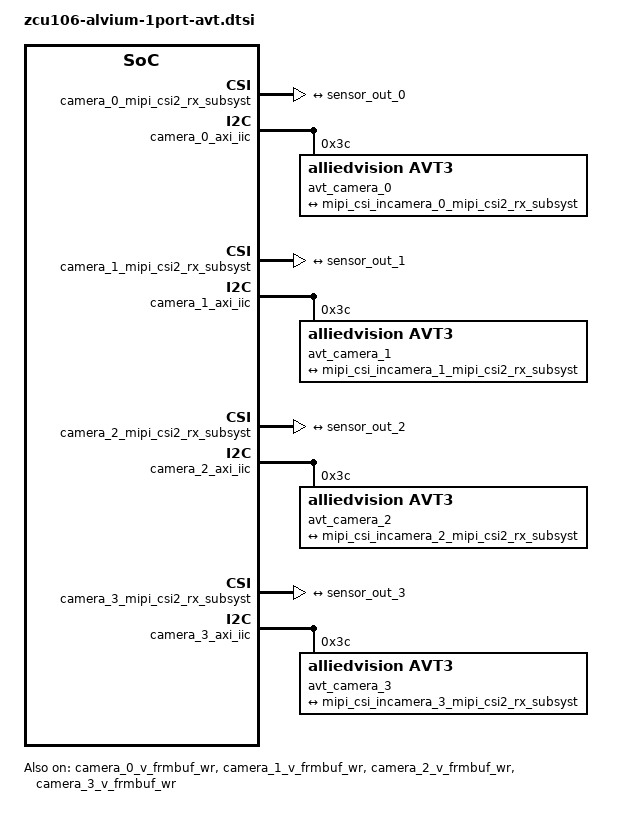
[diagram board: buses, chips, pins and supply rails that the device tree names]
#include <dt-bindings/gpio/gpio.h>
#include <dt-bindings/media/xilinx-vip.h>

/*
//dt-bindings/media/xilinx-vip.h
#define XVIP_VF_YUV_422			0
#define XVIP_VF_YUV_444			1
#define XVIP_VF_RBG				2
#define XVIP_VF_YUV_420			3
#define XVIP_VF_YUVA_422		4
#define XVIP_VF_YUVA_444		5
#define XVIP_VF_RGBA			6
#define XVIP_VF_YUVA_420		7
#define XVIP_VF_YUVD_422		8
#define XVIP_VF_YUVD_444		9
#define XVIP_VF_RGBD			10
#define XVIP_VF_YUVD_420		11
#define XVIP_VF_MONO_SENSOR		12
#define XVIP_VF_CUSTOM2			13
#define XVIP_VF_CUSTOM3			14
#define XVIP_VF_CUSTOM4			15
#define XVIP_VF_VUY_422			16
#define XVIP_VF_BGRX			17
#define XVIP_VF_YUVX			18
#define XVIP_VF_XBGR			19
#define XVIP_VF_Y_GREY			20
#define XVIP_VF_XRGB			21
*/

/* MIPI CSI-2 Data Types from spec */
#define XCSI_DT_YUV4228B	0x1e
#define XCSI_DT_YUV42210B	0x1f
#define XCSI_DT_RGB444		0x20
#define XCSI_DT_RGB555		0x21
#define XCSI_DT_RGB565		0x22
#define XCSI_DT_RGB666		0x23
#define XCSI_DT_RGB888		0x24
#define XCSI_DT_RAW6		0x28
#define XCSI_DT_RAW7		0x29
#define XCSI_DT_RAW8		0x2a
#define XCSI_DT_RAW10		0x2b
#define XCSI_DT_RAW12		0x2c
#define XCSI_DT_RAW14		0x2d
#define XCSI_DT_RAW16		0x2e
#define XCSI_DT_RAW20		0x2f

//Camera 0

&mipi_csi_port0camera_0_mipi_csi2_rx_subsyst {
	/delete-property/ xlnx,cfa-pattern;
};
&mipi_csi_port1camera_0_mipi_csi2_rx_subsyst {
     /delete-property/ xlnx,cfa-pattern;
};


&camera_0_v_frmbuf_wr {
  xlnx,vid-formats = "rgb888", "bgr888", "xbgr8888", "xrgb8888", "uyvy", "y8", "vuy888", "xvuy8888", "yuyv", "nv12", "nv16", "y_u_v8", "tp31";
  xlnx,dma-align = <32>;
  dma-coherent;
  status = "okay";
};


&camera_0_mipi_csi2_rx_subsyst {
  xlnx,csi-pxl-format = <XCSI_DT_YUV4228B>;/*<XCSI_DT_YUV4228B>;"RAW8";*/
  status = "okay";
mipi_csi_portscamera_0_mipi_csi2_rx_subsyst_0: ports {
#address-cells = <1>;
#size-cells = <0>;
    xlnx,csi-pxl-format = <XCSI_DT_YUV4228B>;
  mipi_csi_port1camera_0_mipi_csi2_rx_subsyst: port@1 {
      /* Fill cfa-pattern=rggb for raw data types, other fields video-format and video-width user needs to fill */
      reg = <1>;
      /*xlnx,cfa-pattern = "rggb";*/
      xlnx,video-format = <XVIP_VF_YUV_422>;/*<3>; XVIP_VF_RBG<12>;XVIP_VF_MONO_SENSOR*/
      xlnx,csi-pxl-format = <XCSI_DT_YUV4228B>;
      xlnx,video-width = <8>;
      direction = "output";
      //			mipi_csirx_outmipi_csi2rxss_0: endpoint {
      //				remote-endpoint = <&v_frmbuf_wr_csi_0mipi_csi2rxss_0>;
      //			};
    };
  mipi_csi_port0camera_0_mipi_csi2_rx_subsyst: port@0 {
      /* Fill cfa-pattern=rggb for raw data types, other fields video-format,video-width user needs to fill */
      /* User need to add something like remote-endpoint=<&out> under the node csiss_in:endpoint */
      reg = <0>;
      /*xlnx,cfa-pattern = "rggb";*/
      xlnx,csi-pxl-format = <XCSI_DT_YUV4228B>;
      xlnx,video-format = <XVIP_VF_YUV_422>;/*<3>; XVIP_VF_RBG<12>;XVIP_VF_MONO_SENSOR*/
      xlnx,video-width = <8>;
      direction = "input";
    mipi_csi_incamera_0_mipi_csi2_rx_subsyst: endpoint {
        data-lanes = <1 2 3 4>;
        remote-endpoint = <&sensor_out_0>;
      };
    };
  };
};



&camera_0_axi_iic {
  //clocks = <&vid_s_axi_clk>;

  avt_camera_0@3c {
    compatible = "alliedvision,avt3"; /*"alliedvision,avt_csi2";*/

    reg = <0x3c>;
    csi_id = <0>;

    /* powerdown-gpios = <&axi_gpio_0 0 GPIO_ACTIVE_LOW>;
		reset-gpios = <&axi_gpio_0 4 GPIO_ACTIVE_LOW>; */

    bcrm_wait_timeout = <5111>; /*<4000>;*/
    mipi_csi;
    status = "okay";

    //streamon_delay = <100>;
    phy_reset_on_start;
    x_force_reset_on_init;

    avt-ignore-yuv420_8_leg_avail;
    avt-ignore-yuv420_8_avail;
    avt-ignore-yuv420_10_avail;
    avt-ignore-yuv420_8_csps_avail;
    avt-ignore-yuv420_10_csps_avail;
    x_avt-ignore-yuv422_8_avail;
    avt-ignore-yuv422_10_avail;
    x_avt-ignore-rgb888_avail;
    avt-ignore-rgb666_avail;
    avt-ignore-rgb565_avail;
    avt-ignore-rgb555_avail;
    avt-ignore-rgb444_avail;
    avt-ignore-raw6_avail;
    avt-ignore-raw7_avail;
    avt-ignore-raw8_avail;
    avt-ignore-raw10_avail;
    avt-ignore-raw12_avail;
    avt-ignore-raw14_avail;

    port {
    sensor_out_0: endpoint {
        remote-endpoint = <&mipi_csi_incamera_0_mipi_csi2_rx_subsyst>;
        data-lanes = <1 2 3 4>;
        clock-lanes = <0>;
        link-frequencies = /bits/ 64 <750000000>;
      };
    };
  };



};



//Camera 1

&mipi_csi_port0camera_1_mipi_csi2_rx_subsyst {
	/delete-property/ xlnx,cfa-pattern;
};
&mipi_csi_port1camera_1_mipi_csi2_rx_subsyst {
     /delete-property/ xlnx,cfa-pattern;
};


&camera_1_v_frmbuf_wr {
  xlnx,vid-formats = "rgb888", "bgr888", "xbgr8888", "xrgb8888", "uyvy", "y8", "vuy888", "xvuy8888", "yuyv", "nv12", "nv16", "y_u_v8", "tp31";
  xlnx,dma-align = <32>;
  dma-coherent;
  status = "okay";
};


&camera_1_mipi_csi2_rx_subsyst {
  xlnx,csi-pxl-format = <XCSI_DT_YUV4228B>;/*<XCSI_DT_YUV4228B>;"RAW8";*/
  status = "okay";
mipi_csi_portscamera_1_mipi_csi2_rx_subsyst_0: ports {
#address-cells = <1>;
#size-cells = <0>;
    xlnx,csi-pxl-format = <XCSI_DT_YUV4228B>;
  mipi_csi_port1camera_1_mipi_csi2_rx_subsyst: port@1 {
      /* Fill cfa-pattern=rggb for raw data types, other fields video-format and video-width user needs to fill */
      reg = <1>;
      /*xlnx,cfa-pattern = "rggb";*/
      xlnx,video-format = <XVIP_VF_YUV_422>;/*<3>; XVIP_VF_RBG<12>;XVIP_VF_MONO_SENSOR*/
      xlnx,csi-pxl-format = <XCSI_DT_YUV4228B>;
      xlnx,video-width = <8>;
      direction = "output";
      //			mipi_csirx_outmipi_csi2rxss_0: endpoint {
      //				remote-endpoint = <&v_frmbuf_wr_csi_0mipi_csi2rxss_0>;
      //			};
    };
  mipi_csi_port0camera_1_mipi_csi2_rx_subsyst: port@0 {
      /* Fill cfa-pattern=rggb for raw data types, other fields video-format,video-width user needs to fill */
      /* User need to add something like remote-endpoint=<&out> under the node csiss_in:endpoint */
      reg = <0>;
      /*xlnx,cfa-pattern = "rggb";*/
      xlnx,csi-pxl-format = <XCSI_DT_YUV4228B>;
      xlnx,video-format = <XVIP_VF_YUV_422>;/*<3>; XVIP_VF_RBG<12>;XVIP_VF_MONO_SENSOR*/
      xlnx,video-width = <8>;
      direction = "input";
    mipi_csi_incamera_1_mipi_csi2_rx_subsyst: endpoint {
        data-lanes = <1 2 3 4>;
        remote-endpoint = <&sensor_out_1>;
      };
    };
  };
};



&camera_1_axi_iic {
  //clocks = <&vid_s_axi_clk>;

  avt_camera_1@3c {
    compatible = "alliedvision,avt3"; /*"alliedvision,avt_csi2";*/

    reg = <0x3c>;
    csi_id = <0>;

    /* powerdown-gpios = <&axi_gpio_0 0 GPIO_ACTIVE_LOW>;
		reset-gpios = <&axi_gpio_0 4 GPIO_ACTIVE_LOW>; */

    bcrm_wait_timeout = <5111>; /*<4000>;*/
    mipi_csi;
    status = "okay";

    //streamon_delay = <100>;
    phy_reset_on_start;
    x_force_reset_on_init;

    avt-ignore-yuv420_8_leg_avail;
    avt-ignore-yuv420_8_avail;
    avt-ignore-yuv420_10_avail;
    avt-ignore-yuv420_8_csps_avail;
    avt-ignore-yuv420_10_csps_avail;
    x_avt-ignore-yuv422_8_avail;
    avt-ignore-yuv422_10_avail;
    x_avt-ignore-rgb888_avail;
    avt-ignore-rgb666_avail;
    avt-ignore-rgb565_avail;
    avt-ignore-rgb555_avail;
    avt-ignore-rgb444_avail;
    avt-ignore-raw6_avail;
    avt-ignore-raw7_avail;
    avt-ignore-raw8_avail;
    avt-ignore-raw10_avail;
    avt-ignore-raw12_avail;
    avt-ignore-raw14_avail;

    port {
    sensor_out_1: endpoint {
        remote-endpoint = <&mipi_csi_incamera_1_mipi_csi2_rx_subsyst>;
        data-lanes = <1 2 3 4>;
        clock-lanes = <0>;
        link-frequencies = /bits/ 64 <750000000>;
      };
    };
  };



};



//Camera 2

&mipi_csi_port0camera_2_mipi_csi2_rx_subsyst {
	/delete-property/ xlnx,cfa-pattern;
};
&mipi_csi_port1camera_2_mipi_csi2_rx_subsyst {
     /delete-property/ xlnx,cfa-pattern;
};


&camera_2_v_frmbuf_wr {
  xlnx,vid-formats = "rgb888", "bgr888", "xbgr8888", "xrgb8888", "uyvy", "y8", "vuy888", "xvuy8888", "yuyv", "nv12", "nv16", "y_u_v8", "tp31";
  xlnx,dma-align = <32>;
  dma-coherent;
  status = "okay";
};


&camera_2_mipi_csi2_rx_subsyst {
  xlnx,csi-pxl-format = <XCSI_DT_YUV4228B>;/*<XCSI_DT_YUV4228B>;"RAW8";*/
  status = "okay";
mipi_csi_portscamera_2_mipi_csi2_rx_subsyst_0: ports {
#address-cells = <1>;
#size-cells = <0>;
    xlnx,csi-pxl-format = <XCSI_DT_YUV4228B>;
  mipi_csi_port1camera_2_mipi_csi2_rx_subsyst: port@1 {
      /* Fill cfa-pattern=rggb for raw data types, other fields video-format and video-width user needs to fill */
      reg = <1>;
      /*xlnx,cfa-pattern = "rggb";*/
      xlnx,video-format = <XVIP_VF_YUV_422>;/*<3>; XVIP_VF_RBG<12>;XVIP_VF_MONO_SENSOR*/
      xlnx,csi-pxl-format = <XCSI_DT_YUV4228B>;
      xlnx,video-width = <8>;
      direction = "output";
      //			mipi_csirx_outmipi_csi2rxss_0: endpoint {
      //				remote-endpoint = <&v_frmbuf_wr_csi_0mipi_csi2rxss_0>;
      //			};
    };
  mipi_csi_port0camera_2_mipi_csi2_rx_subsyst: port@0 {
      /* Fill cfa-pattern=rggb for raw data types, other fields video-format,video-width user needs to fill */
      /* User need to add something like remote-endpoint=<&out> under the node csiss_in:endpoint */
      reg = <0>;
      /*xlnx,cfa-pattern = "rggb";*/
      xlnx,csi-pxl-format = <XCSI_DT_YUV4228B>;
      xlnx,video-format = <XVIP_VF_YUV_422>;/*<3>; XVIP_VF_RBG<12>;XVIP_VF_MONO_SENSOR*/
      xlnx,video-width = <8>;
      direction = "input";
    mipi_csi_incamera_2_mipi_csi2_rx_subsyst: endpoint {
        data-lanes = <1 2 3 4>;
        remote-endpoint = <&sensor_out_2>;
      };
    };
  };
};



&camera_2_axi_iic {
  //clocks = <&vid_s_axi_clk>;

  avt_camera_2@3c {
    compatible = "alliedvision,avt3"; /*"alliedvision,avt_csi2";*/

    reg = <0x3c>;
    csi_id = <0>;

    /* powerdown-gpios = <&axi_gpio_0 0 GPIO_ACTIVE_LOW>;
		reset-gpios = <&axi_gpio_0 4 GPIO_ACTIVE_LOW>; */

    bcrm_wait_timeout = <5111>; /*<4000>;*/
    mipi_csi;
    status = "okay";

    //streamon_delay = <100>;
    phy_reset_on_start;
    x_force_reset_on_init;

    avt-ignore-yuv420_8_leg_avail;
    avt-ignore-yuv420_8_avail;
    avt-ignore-yuv420_10_avail;
    avt-ignore-yuv420_8_csps_avail;
    avt-ignore-yuv420_10_csps_avail;
    x_avt-ignore-yuv422_8_avail;
    avt-ignore-yuv422_10_avail;
    x_avt-ignore-rgb888_avail;
    avt-ignore-rgb666_avail;
    avt-ignore-rgb565_avail;
    avt-ignore-rgb555_avail;
    avt-ignore-rgb444_avail;
    avt-ignore-raw6_avail;
    avt-ignore-raw7_avail;
    avt-ignore-raw8_avail;
    avt-ignore-raw10_avail;
    avt-ignore-raw12_avail;
    avt-ignore-raw14_avail;

    port {
    sensor_out_2: endpoint {
        remote-endpoint = <&mipi_csi_incamera_2_mipi_csi2_rx_subsyst>;
        data-lanes = <1 2 3 4>;
        clock-lanes = <0>;
        link-frequencies = /bits/ 64 <750000000>;
      };
    };
  };



};

//Camera 3


&mipi_csi_port0camera_3_mipi_csi2_rx_subsyst {
	/delete-property/ xlnx,cfa-pattern;
};
&mipi_csi_port1camera_3_mipi_csi2_rx_subsyst {
     /delete-property/ xlnx,cfa-pattern;
};


&camera_3_v_frmbuf_wr {
  xlnx,vid-formats = "rgb888", "bgr888", "xbgr8888", "xrgb8888", "uyvy", "y8", "vuy888", "xvuy8888", "yuyv", "nv12", "nv16", "y_u_v8", "tp31";
  xlnx,dma-align = <32>;
  dma-coherent;
  status = "okay";
};


&camera_3_mipi_csi2_rx_subsyst {
  xlnx,csi-pxl-format = <XCSI_DT_YUV4228B>;/*<XCSI_DT_YUV4228B>;"RAW8";*/
  status = "okay";
mipi_csi_portscamera_3_mipi_csi2_rx_subsyst_0: ports {
#address-cells = <1>;
#size-cells = <0>;
    xlnx,csi-pxl-format = <XCSI_DT_YUV4228B>;
  mipi_csi_port1camera_3_mipi_csi2_rx_subsyst: port@1 {
      /* Fill cfa-pattern=rggb for raw data types, other fields video-format and video-width user needs to fill */
      reg = <1>;
      /*xlnx,cfa-pattern = "rggb";*/
      xlnx,video-format = <XVIP_VF_YUV_422>;/*<3>; XVIP_VF_RBG<12>;XVIP_VF_MONO_SENSOR*/
      xlnx,csi-pxl-format = <XCSI_DT_YUV4228B>;
      xlnx,video-width = <8>;
      direction = "output";
      //			mipi_csirx_outmipi_csi2rxss_0: endpoint {
      //				remote-endpoint = <&v_frmbuf_wr_csi_0mipi_csi2rxss_0>;
      //			};
    };
  mipi_csi_port0camera_3_mipi_csi2_rx_subsyst: port@0 {
      /* Fill cfa-pattern=rggb for raw data types, other fields video-format,video-width user needs to fill */
      /* User need to add something like remote-endpoint=<&out> under the node csiss_in:endpoint */
      reg = <0>;
      /*xlnx,cfa-pattern = "rggb";*/
      xlnx,csi-pxl-format = <XCSI_DT_YUV4228B>;
      xlnx,video-format = <XVIP_VF_YUV_422>;/*<3>; XVIP_VF_RBG<12>;XVIP_VF_MONO_SENSOR*/
      xlnx,video-width = <8>;
      direction = "input";
    mipi_csi_incamera_3_mipi_csi2_rx_subsyst: endpoint {
        data-lanes = <1 2 3 4>;
        remote-endpoint = <&sensor_out_3>;
      };
    };
  };
};



&camera_3_axi_iic {
  //clocks = <&vid_s_axi_clk>;

  avt_camera_3@3c {
    compatible = "alliedvision,avt3"; /*"alliedvision,avt_csi2";*/

    reg = <0x3c>;
    csi_id = <0>;

    /* powerdown-gpios = <&axi_gpio_0 0 GPIO_ACTIVE_LOW>;
		reset-gpios = <&axi_gpio_0 4 GPIO_ACTIVE_LOW>; */

    bcrm_wait_timeout = <5111>; /*<4000>;*/
    mipi_csi;
    status = "okay";

    //streamon_delay = <100>;
    phy_reset_on_start;
    x_force_reset_on_init;

    avt-ignore-yuv420_8_leg_avail;
    avt-ignore-yuv420_8_avail;
    avt-ignore-yuv420_10_avail;
    avt-ignore-yuv420_8_csps_avail;
    avt-ignore-yuv420_10_csps_avail;
    x_avt-ignore-yuv422_8_avail;
    avt-ignore-yuv422_10_avail;
    x_avt-ignore-rgb888_avail;
    avt-ignore-rgb666_avail;
    avt-ignore-rgb565_avail;
    avt-ignore-rgb555_avail;
    avt-ignore-rgb444_avail;
    avt-ignore-raw6_avail;
    avt-ignore-raw7_avail;
    avt-ignore-raw8_avail;
    avt-ignore-raw10_avail;
    avt-ignore-raw12_avail;
    avt-ignore-raw14_avail;

    port {
    sensor_out_3: endpoint {
        remote-endpoint = <&mipi_csi_incamera_3_mipi_csi2_rx_subsyst>;
        data-lanes = <1 2 3 4>;
        clock-lanes = <0>;
        link-frequencies = /bits/ 64 <750000000>;
      };
    };
  };



};

/ {
    fragment@1 {
        __overlay__ {
            vcap_camera_0_mipi_csi2_rx_subsyst {
                dma-coherent;
	    };
            vcap_camera_1_mipi_csi2_rx_subsyst {
                dma-coherent;
	    };
            vcap_camera_2_mipi_csi2_rx_subsyst {
                dma-coherent;
	    };

            vcap_camera_3_mipi_csi2_rx_subsyst {
                dma-coherent;
	    };

	};
    };
};


